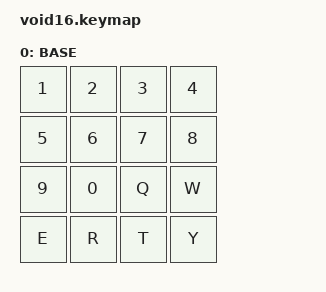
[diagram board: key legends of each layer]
//                                                      ▀▀▀█
//               ▄▄▄▄      ▄▄▄      ▄▄▄▄▄      ▄▄▄▄▄       █
//               █        █▄▄▄█    █    █     █    █       █
//            ▄▄▄█▄▄▄     ▀▄▄▄     ▀▄▄▄▄█     ▀▄▄▄▀█    ▄▄▄█▄▄▄
//                                  ▄▄▄▄▀


#include <behaviors.dtsi>
#include <dt-bindings/zmk/keys.h>
#include <dt-bindings/zmk/bt.h>
#include <dt-bindings/zmk/outputs.h>

#define BASE 0

/ {
        keymap {
                compatible = "zmk,keymap";

                base_layer {
// ┌───────────────────────────────────┐
label= "BASE"                          ;
// └───────────────────────────────────┘
// ┌───────────┬───────────┬───────────┬───────────┐
// │     1     │     2     │     3     │     4     │
// ├───────────┼───────────┼───────────┼───────────┤
// │     5     │     6     │     7     │     8     │
// ├───────────┼───────────┼───────────┼───────────┤
// │     9     │     0     │     q     │     w     │
// ├───────────┼───────────┼───────────┼───────────┤
// │     e     │     r     │     t     │     y     │
// └───────────┼───────────┼───────────┼───────────┤
 bindings = <
// ╷           ╷           ╷           ╷           ╷╷           ╷╷           ╷

    &kp N1      &kp N2      &kp N3      &kp N4
    &kp N5      &kp N6      &kp N7      &kp N8
    &kp N9      &kp N0      &kp Q       &kp W
    &kp E       &kp R       &kp T       &kp Y
                        >;
                };


        };
};
